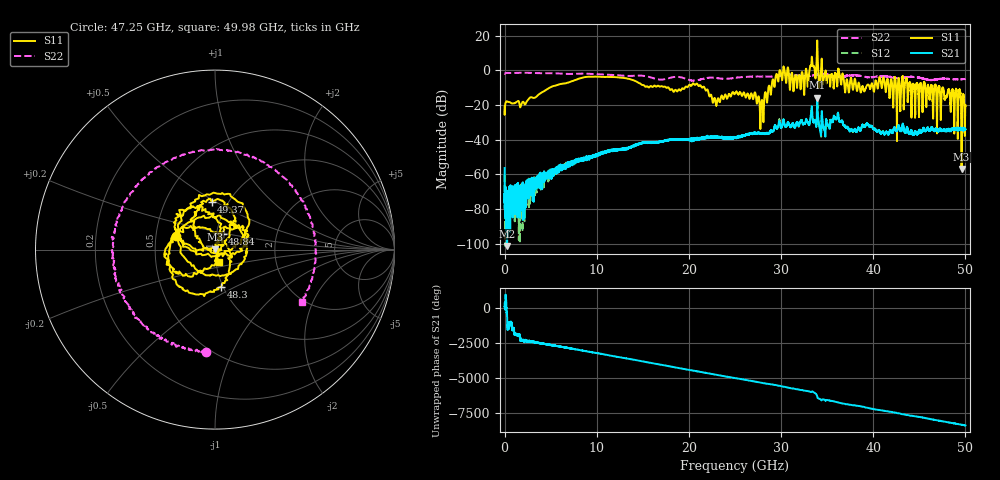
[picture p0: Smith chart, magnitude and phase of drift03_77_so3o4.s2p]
!Created with skrf (http://scikit-rf.org).
# Hz S RI R 50.0
!freq ReS11 ImS11 ReS21 ImS21 ReS12 ImS12 ReS22 ImS22
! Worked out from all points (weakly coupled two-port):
!   10001 points, 300 kHz to 50 GHz, reference 50 ohm
!   highest |S21| = -15.68 dB at 33.92 GHz (marker M1); lowest = -101.3 dB at 270.3 MHz (marker M2)
!   lowest |S11| = -56.9 dB at 49.59 GHz (marker M3), VSWR 1.00, Z = 49.9 + j0.13 ohm
!   |S11| at or under -10 dB: start of sweep to 4.849 GHz; 21.69 GHz to 28.62 GHz (6.932 GHz wide, 27.6 % of centre); 47.59 GHz to end of sweep (the widest 3 of 47)
!   |S22| runs from -5.9 to -1.3 dB; largest |S21 - S12| = 0.018
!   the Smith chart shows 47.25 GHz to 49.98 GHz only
!   S11 on the Smith chart (normalised r, x): 47.25 GHz: 0.63, +0.10; 48.3 GHz: 0.98, -0.42; 48.84 GHz: 1.07, +0.18; 49.37 GHz: 0.84, +0.48; 49.98 GHz: 1.03, -0.14
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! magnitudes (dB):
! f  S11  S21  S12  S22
! 300 kHz  -21.0  -56.3  -60.2  -2.1
! 270.3 MHz  -17.9  -101.3  -69.8  -1.4
! 8.335 GHz  -4.3  -51.5  -51.6  -1.9
! 16.67 GHz  -8.8  -41.6  -41.3  -5.2
! 21.01 GHz  -8.7  -39.0  -39.2  -5.5
! 22.81 GHz  -16.0  -38.3  -38.6  -4.2
! 25 GHz  -13.4  -38.9  -38.9  -4.3
! 27.02 GHz  -15.7  -36.2  -36.0  -3.5
! 27.92 GHz  -17.2  -36.4  -36.5  -3.5
! 29.69 GHz  -6.4  -32.2  -31.7  -3.1
! 32.32 GHz  -1.5  -30.5  -30.7  -3.3
! 33.34 GHz  7.9  -20.6  -20.9  -2.9
! 33.92 GHz  17.3  -15.7  -15.9  -2.4
! 38.82 GHz  -9.3  -31.3  -31.8  -3.4
! 41.67 GHz  -9.0  -36.5  -36.5  -3.6
! 47.25 GHz  -12.7  -33.9  -33.8  -4.8
! 48.3 GHz  -13.6  -34.3  -34.4  -5.0
! 48.84 GHz  -20.4  -33.7  -34.2  -5.1
! 49.37 GHz  -11.4  -33.7  -33.8  -5.1
! 49.59 GHz  -56.9  -33.7  -33.8  -5.1
! 49.98 GHz  -22.9  -34.2  -33.9  -5.0
! 50 GHz  -20.3  -33.9  -34.0  -4.9
